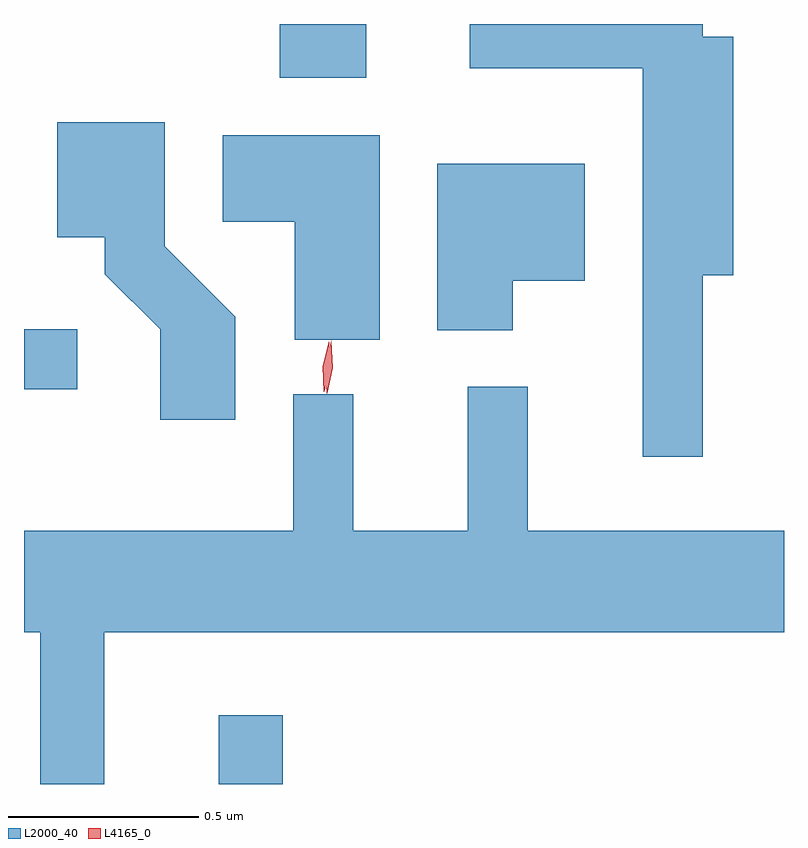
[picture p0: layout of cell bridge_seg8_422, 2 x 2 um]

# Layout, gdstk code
import gdstk
lib = gdstk.Library(unit=1e-6, precision=1e-09)
def R(c, l, rs):  # rectangles x0, y0, x1, y1
    for r in rs: c.add(gdstk.rectangle(r[:2], r[2:], *l))
def P(c, l, *ps):  # polygons
    for p in ps: c.add(gdstk.Polygon(p, *l))
L2000_40 = (2000, 40)
L4165_0 = (4165, 0)

bridge_seg8_422 = lib.new_cell('bridge_seg8_422')
R(bridge_seg8_422, L2000_40, [(826.321,1836.017,826.489,1836.198), (825.808,1837.056,825.948,1837.214)])
P(bridge_seg8_422, L2000_40, [(826.709,1838.017),(825.858,1838.017),(825.859,1838.016),(826.481,1838.016),(826.481,1837.876),(826.709,1837.876)],
  [(827.594,1837.356),(827.674,1837.356),(827.674,1837.984),(827.594,1837.984),(827.594,1838.017),(826.981,1838.017),(826.981,1837.901),(827.436,1837.901),(827.436,1836.878),(827.594,1836.878)],
  [(826.364,1837.247),(826.179,1837.432),(826.179,1837.759),(825.896,1837.759),(825.896,1837.456),(826.021,1837.456),(826.021,1837.359),(826.166,1837.214),(826.166,1836.976),(826.364,1836.976)],
  [(826.744,1837.724),(826.331,1837.724),(826.331,1837.496),(826.521,1837.496),(826.521,1837.186),(826.744,1837.186)],
  [(827.094,1837.341),(827.284,1837.341),(827.284,1837.649),(826.896,1837.649),(826.896,1837.211),(827.094,1837.211)],
  [(826.019,1836.416),(827.808,1836.416),(827.808,1836.684),(827.134,1836.684),(827.134,1837.063),(826.976,1837.063),(826.976,1836.684),(826.674,1836.684),(826.674,1837.043),(826.516,1837.043),(826.516,1836.684),(825.808,1836.684),(825.808,1836.416),(825.851,1836.416),(825.851,1836.017),(826.019,1836.017)])
P(bridge_seg8_422, L4165_0, [(826.597,1837.049),(826.597,1837.049),(826.594,1837.116),(826.61,1837.18),(826.61,1837.181),(826.611,1837.18),(826.614,1837.114),(826.598,1837.049)],
  [(826.605,1837.045),(826.605,1837.045),(826.601,1837.115),(826.616,1837.182),(826.616,1837.183),(826.617,1837.182),(826.621,1837.113),(826.606,1837.045)])

lib.write_gds('bridge_seg8_422.gds')
